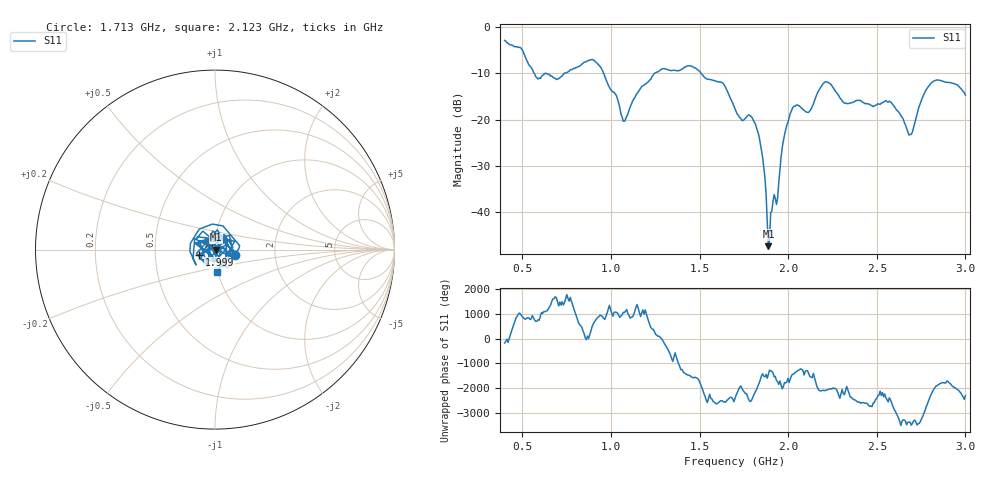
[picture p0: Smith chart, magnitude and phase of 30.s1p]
!Created with skrf (http://scikit-rf.org).
# Hz S RI R 50.0
!freq ReS11 ImS11
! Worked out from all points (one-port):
!   401 points, 400 MHz to 3 GHz, reference 50 ohm
!   lowest |S11| = -47.3 dB at 1.889 GHz (marker M1), VSWR 1.01, Z = 50.4 - j0.0207 ohm
!   |S11| at or under -10 dB: 566.9 MHz to 737.1 MHz (170.3 MHz wide, 26.1 % of centre); 958.6 MHz to 1.248 GHz (289.1 MHz wide, 26.2 % of centre); 1.509 GHz to end of sweep
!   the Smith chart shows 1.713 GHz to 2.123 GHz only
!   S11 on the Smith chart (normalised r, x): 1.713 GHz: 1.24, -0.08; 1.999 GHz: 0.83, -0.05; 2.123 GHz: 1.00, -0.25
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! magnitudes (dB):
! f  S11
! 400 MHz  -2.9
! 491 MHz  -4.5
! 588.5 MHz  -11.3
! 725 MHz  -10.6
! 907 MHz  -7.3
! 1.05 GHz  -17.4
! 1.083 GHz  -19.9
! 1.245 GHz  -10.1
! 1.375 GHz  -9.5
! 1.629 GHz  -12.0
! 1.7 GHz  -17.6
! 1.713 GHz  -18.8
! 1.823 GHz  -22.0
! 1.856 GHz  -28.2
! 1.889 GHz  -47.3
! 1.94 GHz  -36.9
! 1.973 GHz  -24.6
! 1.999 GHz  -20.5
! 2.025 GHz  -17.5
! 2.123 GHz  -18.1
! 2.213 GHz  -11.9
! 2.35 GHz  -16.4
! 2.571 GHz  -16.0
! 2.675 GHz  -22.7
! 2.695 GHz  -23.2
! 2.76 GHz  -15.1
! 2.818 GHz  -11.8
! 3 GHz  -14.7
